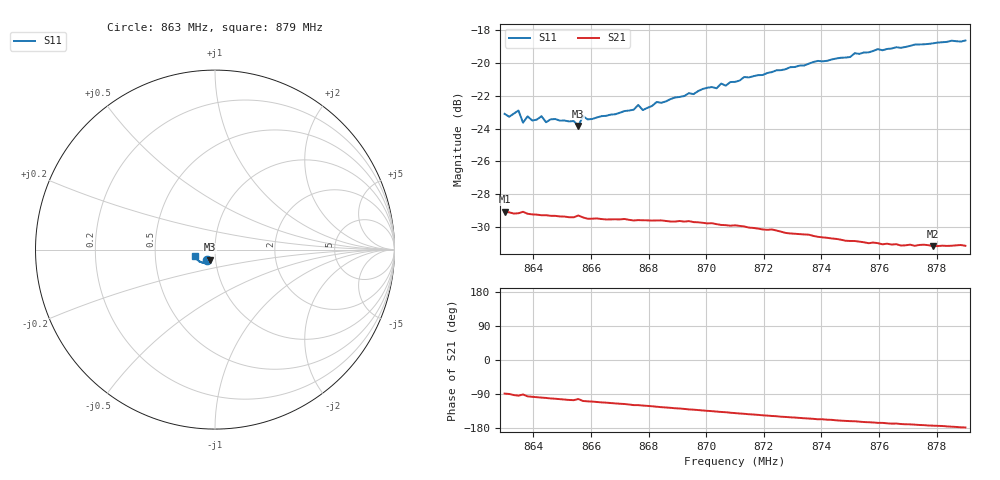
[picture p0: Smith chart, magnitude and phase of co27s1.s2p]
# HZ S RI R 50
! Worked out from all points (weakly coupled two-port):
!   101 points, 863 MHz to 879 MHz, reference 50 ohm
!   highest |S21| = -29.06 dB at 863 MHz (marker M1); lowest = -31.2 dB at 877.88 MHz (marker M2)
!   lowest |S11| = -23.8 dB at 865.56 MHz (marker M3), VSWR 1.14, Z = 46.8 - j5.33 ohm
!   |S11| at or under -10 dB: start of sweep to end of sweep
!   S12 and S22 are empty: the file has one direction only
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8.63e8  -0.0422 -0.0559  0.000829 -0.0352  0 0  0 0
8.6316e8  -0.0418 -0.0544  0.000217 -0.0351  0 0  0 0
8.6348e8  -0.0459 -0.0551  -0.00249 -0.0348  0 0  0 0
8.6364e8  -0.0359 -0.0552  -0.000631 -0.0352  0 0  0 0
8.638e8  -0.0421 -0.0544  -0.00364 -0.0345  0 0  0 0
8.6396e8  -0.0404 -0.0532  -0.00427 -0.0343  0 0  0 0
8.6428e8  -0.04 -0.0561  -0.00549 -0.0339  0 0  0 0
8.6444e8  -0.0388 -0.0534  -0.00604 -0.0338  0 0  0 0
8.6476e8  -0.0386 -0.0554  -0.00727 -0.0334  0 0  0 0
8.654e8  -0.0353 -0.0565  -0.00932 -0.0326  0 0  0 0
8.6556e8  -0.0302 -0.0567  -0.00768 -0.0334  0 0  0 0
8.6572e8  -0.0371 -0.0582  -0.0105 -0.0322  0 0  0 0
8.6604e8  -0.0352 -0.0577  -0.0113 -0.0316  0 0  0 0
8.6748e8  -0.0351 -0.063  -0.0161 -0.029  0 0  0 0
8.6764e8  -0.037 -0.0647  -0.0161 -0.029  0 0  0 0
8.678e8  -0.0353 -0.0627  -0.0167 -0.0287  0 0  0 0
8.6844e8  -0.0378 -0.0656  -0.0188 -0.0273  0 0  0 0
8.71e8  -0.0483 -0.0732  -0.0246 -0.0205  0 0  0 0
8.7372e8  -0.0684 -0.074  -0.027 -0.0125  0 0  0 0
8.7644e8  -0.0923 -0.0614  -0.0274 -0.00583  0 0  0 0
8.7788e8  -0.1042 -0.0486  -0.0275 -0.00323  0 0  0 0
8.79e8  -0.1109 -0.038  -0.0277 -0.000963  0 0  0 0
